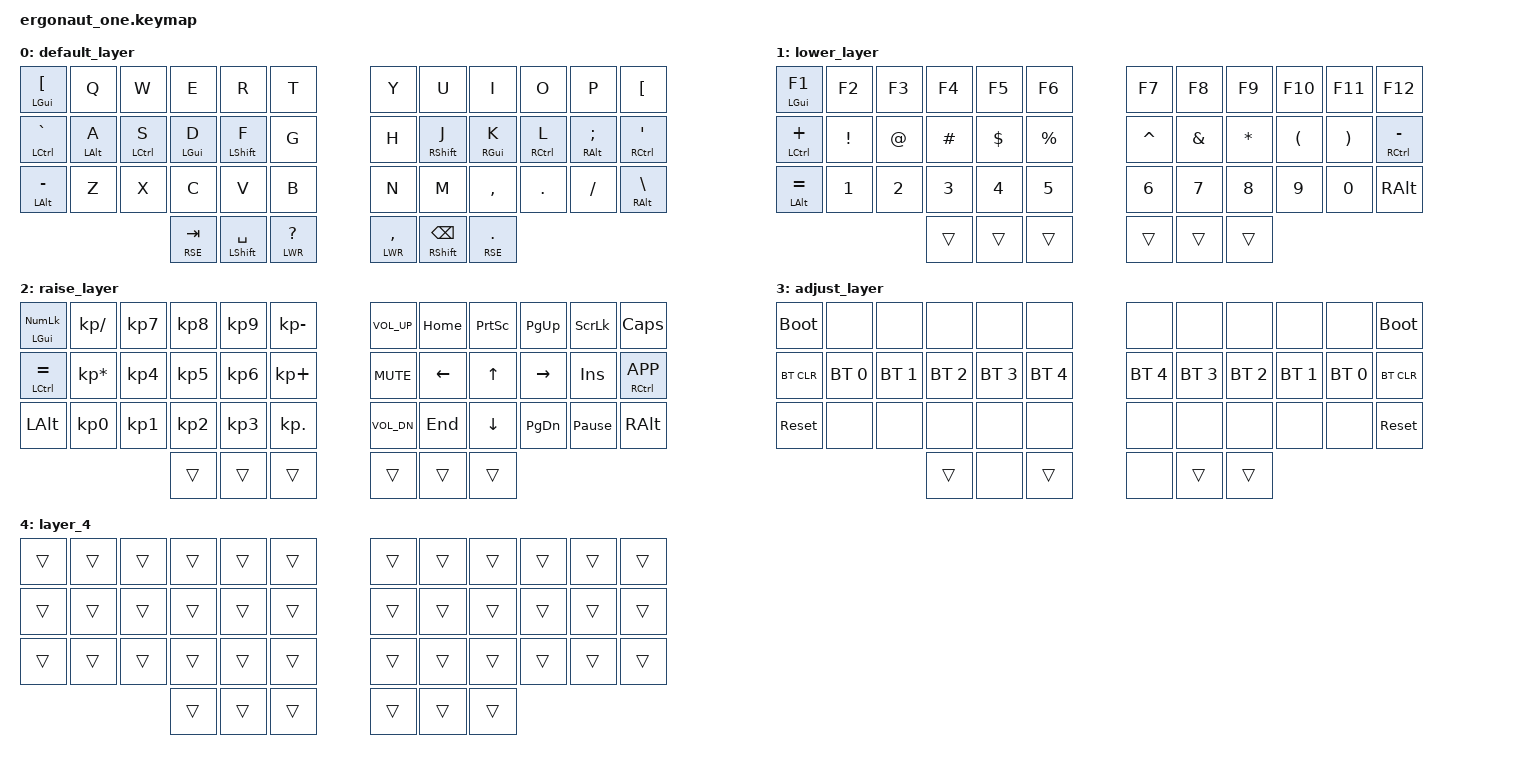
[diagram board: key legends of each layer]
#include <behaviors.dtsi>
#include <dt-bindings/zmk/bt.h>
#include <dt-bindings/zmk/keys.h>

#define DEF 0
#define LWR 1
#define RSE 2
#define ADJ 3

&lt { quick-tap-ms = <200>; };

&mt {
    quick-tap-ms = <200>;
    flavor = "balanced";
};

/ {
    conditional_layers {
        compatible = "zmk,conditional-layers";

        tri-layer {
            if-layers = <1 2>;
            then-layer = <3>;
        };
    };

    combos {
        compatible = "zmk,combos";

        backspace {
            bindings = <&kp BACKSPACE>;
            key-positions = <8 9>;
        };

        enter {
            bindings = <&kp ENTER>;
            key-positions = <32 33>;
        };

        paste {
            bindings = <&kp LG(V)>;
            key-positions = <27 28>;
        };

        copy {
            bindings = <&kp LG(C)>;
            key-positions = <26 27>;
        };

        cut {
            bindings = <&kp LG(X)>;
            key-positions = <26 28>;
        };

        select_all {
            bindings = <&kp LG(A)>;
            key-positions = <25 17>;
        };

        undo {
            bindings = <&kp LG(Z)>;
            key-positions = <26 27 28>;
        };

        screenshot {
            bindings = <&kp LG(LS(NUMBER_4))>;
            key-positions = <2 3 4>;
        };

        escape {
            bindings = <&kp ESCAPE>;
            key-positions = <2 3>;
        };

        tab {
            bindings = <&kp TAB>;
            key-positions = <14 15>;
        };
    };

    keymap {
        compatible = "zmk,keymap";

        default_layer {
            bindings = <
&mt LGUI LEFT_BRACKET  &kp Q       &kp W        &kp E        &kp R            &kp T             &kp Y          &kp U           &kp I        &kp O        &kp P          &kp LBKT
&mt LCTRL GRAVE        &mt LALT A  &mt LCTRL S  &mt LGUI D   &mt LSHFT F      &kp G             &kp H          &mt RSHIFT J    &mt RGUI K   &mt RCTRL L  &mt RALT SEMI  &mt RCTRL SQT
&mt LALT MINUS         &kp Z       &kp X        &kp C        &kp V            &kp B             &kp N          &kp M           &kp COMMA    &kp DOT      &kp FSLH       &mt RALT BSLH
                                                &lt RSE TAB  &mt LSHFT SPACE  &lt LWR QUESTION  &lt LWR COMMA  &mt RSHFT BSPC  &lt RSE DOT
            >;
        };

        lower_layer {
            bindings = <
&mt LGUI F1     &kp F2    &kp F3  &kp F4    &kp F5    &kp F6     &kp F7     &kp F8    &kp F9    &kp F10   &kp F11   &kp F12
&mt LCTRL PLUS  &kp EXCL  &kp AT  &kp HASH  &kp DLLR  &kp PRCNT  &kp CARET  &kp AMPS  &kp STAR  &kp LPAR  &kp RPAR  &mt RCTRL MINUS
&mt LALT EQUAL  &kp N1    &kp N2  &kp N3    &kp N4    &kp N5     &kp N6     &kp N7    &kp N8    &kp N9    &kp N0    &kp RALT
                                  &trans    &trans    &trans     &trans     &trans    &trans
            >;
        };

        raise_layer {
            bindings = <
&mt LGUI KP_NUM  &kp KP_SLASH     &kp KP_N7  &kp KP_N8  &kp KP_N9  &kp KP_MINUS  &kp C_VOL_UP  &kp HOME  &kp PSCRN  &kp PG_UP  &kp SLCK         &kp CLCK
&mt LCTRL EQUAL  &kp KP_MULTIPLY  &kp KP_N4  &kp KP_N5  &kp KP_N6  &kp KP_PLUS   &kp C_MUTE    &kp LEFT  &kp UP     &kp RIGHT  &kp INS          &mt RCTRL K_APP
&kp LALT         &kp KP_N0        &kp KP_N1  &kp KP_N2  &kp KP_N3  &kp KP_DOT    &kp C_VOL_DN  &kp END   &kp DOWN   &kp PG_DN  &kp PAUSE_BREAK  &kp RALT
                                             &trans     &trans     &trans        &trans        &trans    &trans
            >;
        };

        adjust_layer {
            bindings = <
&bootloader  &none         &none         &none         &none         &none         &none         &none         &none         &none         &none         &bootloader
&bt BT_CLR   &bt BT_SEL 0  &bt BT_SEL 1  &bt BT_SEL 2  &bt BT_SEL 3  &bt BT_SEL 4  &bt BT_SEL 4  &bt BT_SEL 3  &bt BT_SEL 2  &bt BT_SEL 1  &bt BT_SEL 0  &bt BT_CLR
&sys_reset   &none         &none         &none         &none         &none         &none         &none         &none         &none         &none         &sys_reset
                                         &trans        &none         &trans        &none         &trans        &trans
            >;
        };

        layer_4 {
            bindings = <
&trans  &trans  &trans  &trans  &trans  &trans  &trans  &trans  &trans  &trans  &trans  &trans
&trans  &trans  &trans  &trans  &trans  &trans  &trans  &trans  &trans  &trans  &trans  &trans
&trans  &trans  &trans  &trans  &trans  &trans  &trans  &trans  &trans  &trans  &trans  &trans
                        &trans  &trans  &trans  &trans  &trans  &trans
            >;
        };
    };
};
